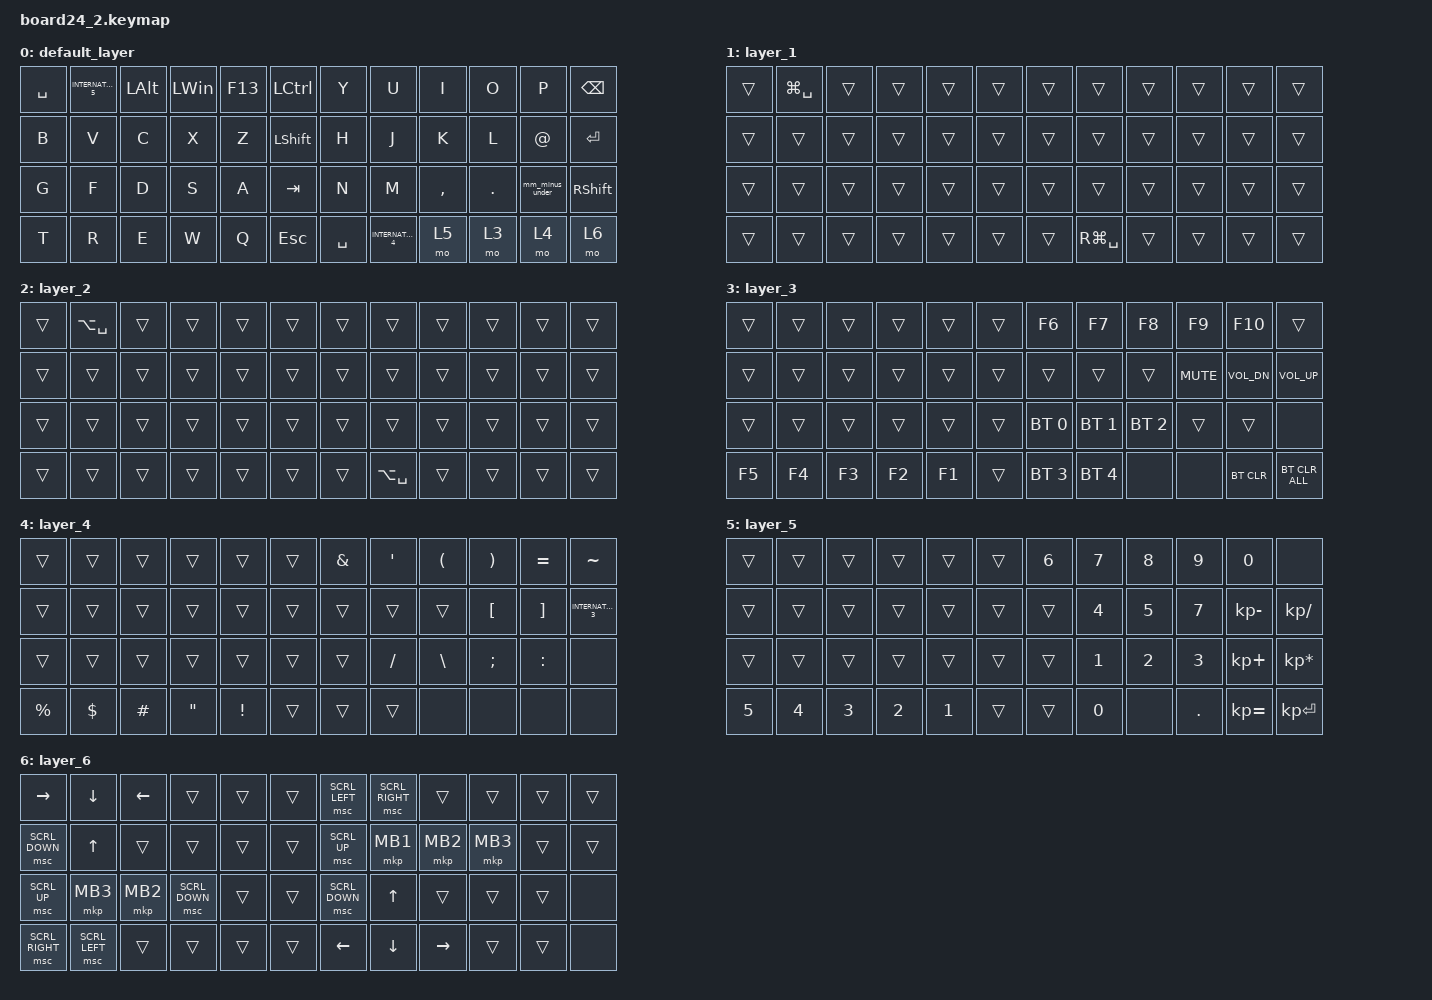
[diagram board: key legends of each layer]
#include <behaviors.dtsi>
#include <dt-bindings/zmk/bt.h>
#include <dt-bindings/zmk/keys.h>
#include <dt-bindings/zmk/pointing.h>

#define JP_DQUOTE       AT
#define JP_AMPERSAND    CARET
#define JP_QUOTE        AMPERSAND
#define JP_EQUAL        UNDER
#define JP_CARET        EQUAL
#define JP_YEN          0x89
#define JP_PLUS         COLON
#define JP_TILDE        PLUS
#define JP_PIPE         LS(0x89)
#define JP_AT           LEFT_BRACKET
#define JP_COLON        SINGLE_QUOTE
#define JP_ASTERISK     DOUBLE_QUOTES
#define JP_BACKQUOTE    LEFT_BRACE
#define JP_UNDERSCORE   LS(0x87)
#define JP_LBRACKET     RIGHT_BRACKET
#define JP_RBRACKET     BACKSLASH
#define JP_LPAREN       ASTERISK
#define JP_RPAREN       LEFT_PARENTHESIS
#define JP_LBRACE       RIGHT_BRACE
#define JP_RBRACE       PIPE
#define JP_KANA         LANGUAGE_1
#define JP_EISU         LANGUAGE_2
#define JP_HANZEN       GRAVE
#define COMBO_1         F13
#define COMBO_2         F14
#define COMBO_3         F15
#define COMBO_4         F16
#define COMBO_5         F17

&mt {
    flavor = "balanced";
    quick-tap-ms = <0>;
};

/ {

    behaviors {
        mm_minus_under: mm_minus_under {
            compatible = "zmk,behavior-mod-morph";
            #binding-cells = <0>;
            bindings = <&kp MINUS>, <&kp UNDER>;
            mods = <(MOD_LSFT|MOD_RSFT)>;
        };
    };

    combos {
        compatible = "zmk,combos";
        combo_0 {
            timeout-ms = <50>;
            key-positions = <4 41>;
            bindings = <&to 0>;
        };
        combo_1 {
            timeout-ms = <50>;
            key-positions = <4 40>;
            bindings = <&to 1>;
        };
        combo_2 {
            timeout-ms = <50>;
            key-positions = <4 39>;
            bindings = <&to 2>;
        };
    };

    keymap {
        compatible = "zmk,keymap";

        default_layer {
            bindings = <
            &kp SPACE              &kp INTERNATIONAL_5    &kp LALT               &kp LWIN               &kp COMBO_1            &kp LCTRL              &kp Y                  &kp U                  &kp I                  &kp O                  &kp P                  &kp BACKSPACE
            &kp B                  &kp V                  &kp C                  &kp X                  &kp Z                  &kp LSHIFT             &kp H                  &kp J                  &kp K                  &kp L                  &kp AT                 &kp ENTER
            &kp G                  &kp F                  &kp D                  &kp S                  &kp A                  &kp TAB                &kp N                  &kp M                  &kp COMMA              &kp DOT                &mm_minus_under        &kp RSHIFT
            &kp T                  &kp R                  &kp E                  &kp W                  &kp Q                  &kp ESC                &kp SPACE              &kp INTERNATIONAL_4    &mo 5                  &mo 3                  &mo 4                  &mo 6
            >;
        };

        layer_1 {
            bindings = <
            &trans                 &kp LG(SPACE)          &trans                 &trans                 &trans                 &trans                 &trans                 &trans                 &trans                 &trans                 &trans                 &trans
            &trans                 &trans                 &trans                 &trans                 &trans                 &trans                 &trans                 &trans                 &trans                 &trans                 &trans                 &trans
            &trans                 &trans                 &trans                 &trans                 &trans                 &trans                 &trans                 &trans                 &trans                 &trans                 &trans                 &trans
            &trans                 &trans                 &trans                 &trans                 &trans                 &trans                 &trans                 &kp RG(SPACE)          &trans                 &trans                 &trans                 &trans
            >;
        };

        layer_2 {
            bindings = <
            &trans                 &kp LA(SPACE)          &trans                 &trans                 &trans                 &trans                 &trans                 &trans                 &trans                 &trans                 &trans                 &trans
            &trans                 &trans                 &trans                 &trans                 &trans                 &trans                 &trans                 &trans                 &trans                 &trans                 &trans                 &trans
            &trans                 &trans                 &trans                 &trans                 &trans                 &trans                 &trans                 &trans                 &trans                 &trans                 &trans                 &trans
            &trans                 &trans                 &trans                 &trans                 &trans                 &trans                 &trans                 &kp LA(SPACE)          &trans                 &trans                 &trans                 &trans
            >;
        };

        layer_3 {
            bindings = <
            &trans                 &trans                 &trans                 &trans                 &trans                 &trans                 &kp F6                 &kp F7                 &kp F8                 &kp F9                 &kp F10                &trans
            &trans                 &trans                 &trans                 &trans                 &trans                 &trans                 &trans                 &trans                 &trans                 &kp C_MUTE             &kp C_VOL_DN           &kp C_VOL_UP
            &trans                 &trans                 &trans                 &trans                 &trans                 &trans                 &bt BT_SEL 0           &bt BT_SEL 1           &bt BT_SEL 2           &trans                 &trans                 &none
            &kp F5                 &kp F4                 &kp F3                 &kp F2                 &kp F1                 &trans                 &bt BT_SEL 3           &bt BT_SEL 4           &none                  &none                  &bt BT_CLR             &bt BT_CLR_ALL
            >;
        };

        layer_4 {
            bindings = <
            &trans                 &trans                 &trans                 &trans                 &trans                 &trans                 &kp AMPS               &kp SQT                &kp LPAR               &kp RPAR               &kp EQUAL              &kp TILDE
            &trans                 &trans                 &trans                 &trans                 &trans                 &trans                 &trans                 &trans                 &trans                 &kp LEFT_BRACKET       &kp RIGHT_BRACKET      &kp INTERNATIONAL_3
            &trans                 &trans                 &trans                 &trans                 &trans                 &trans                 &trans                 &kp SLASH              &kp BACKSLASH          &kp SEMICOLON          &kp COLN               &none
            &kp PRCNT              &kp DLLR               &kp HASH               &kp DQT                &kp EXCL               &trans                 &trans                 &trans                 &none                  &none                  &none                  &none
            >;
        };

        layer_5 {
            bindings = <
            &trans                 &trans                 &trans                 &trans                 &trans                 &trans                 &kp NUMBER_6           &kp NUMBER_7           &kp NUMBER_8           &kp NUMBER_9           &kp NUMBER_0           &none
            &trans                 &trans                 &trans                 &trans                 &trans                 &trans                 &trans                 &kp NUMBER_4           &kp NUMBER_5           &kp NUMBER_7           &kp KP_MINUS           &kp KP_SLASH
            &trans                 &trans                 &trans                 &trans                 &trans                 &trans                 &trans                 &kp NUMBER_1           &kp NUMBER_2           &kp NUMBER_3           &kp KP_PLUS            &kp KP_ASTERISK
            &kp NUMBER_5           &kp NUMBER_4           &kp NUMBER_3           &kp NUMBER_2           &kp NUMBER_1           &trans                 &trans                 &kp NUMBER_0           &none                  &kp DOT                &kp KP_EQUAL           &kp KP_ENTER
            >;
        };

        layer_6 {
            bindings = <
            &kp RIGHT_ARROW        &kp DOWN_ARROW         &kp LEFT_ARROW         &trans                 &trans                 &trans                 &msc SCRL_LEFT         &msc SCRL_RIGHT        &trans                 &trans                 &trans                 &trans
            &msc SCRL_DOWN         &kp UP_ARROW           &trans                 &trans                 &trans                 &trans                 &msc SCRL_UP           &mkp MB1               &mkp MB2               &mkp MB3               &trans                 &trans
            &msc SCRL_UP           &mkp MB3               &mkp MB2               &msc SCRL_DOWN         &trans                 &trans                 &msc SCRL_DOWN         &kp UP_ARROW           &trans                 &trans                 &trans                 &none
            &msc SCRL_RIGHT        &msc SCRL_LEFT         &trans                 &trans                 &trans                 &trans                 &kp LEFT_ARROW         &kp DOWN_ARROW         &kp RIGHT_ARROW        &trans                 &trans                 &none
            >;
        };
    };
};
